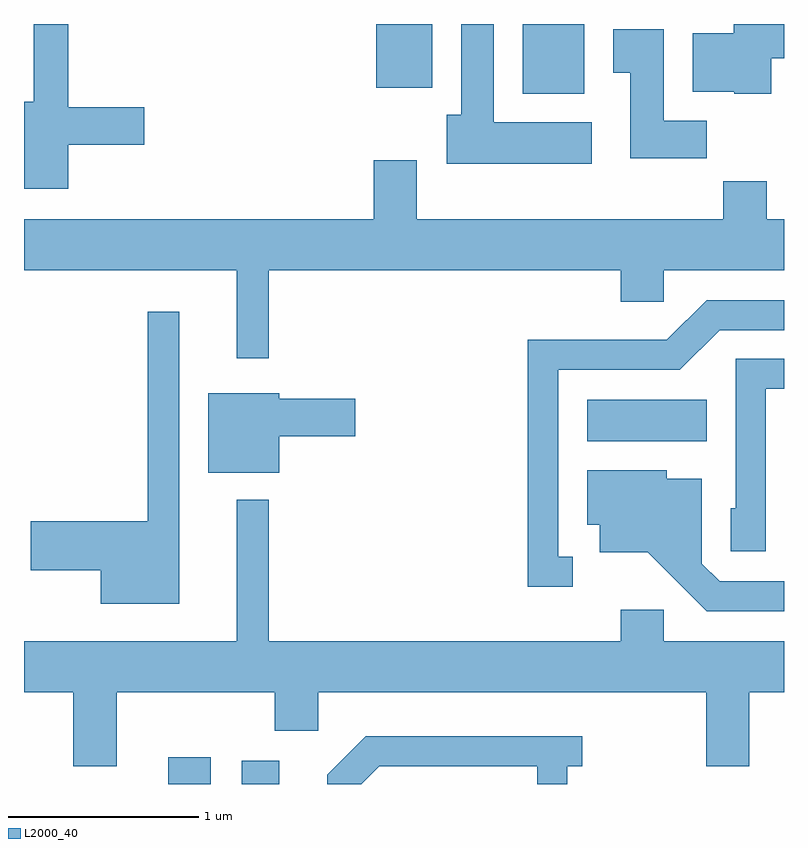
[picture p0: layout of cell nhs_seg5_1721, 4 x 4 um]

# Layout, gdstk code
import gdstk
lib = gdstk.Library(unit=1e-6, precision=1e-09)
def R(c, l, rs):  # rectangles x0, y0, x1, y1
    for r in rs: c.add(gdstk.rectangle(r[:2], r[2:], *l))
def P(c, l, *ps):  # polygons
    for p in ps: c.add(gdstk.Polygon(p, *l))
L2000_40 = (2000, 40)

nhs_seg5_1721 = lib.new_cell('nhs_seg5_1721')
R(nhs_seg5_1721, L2000_40, [(236.371,1474.072,236.594,1474.214), (236.756,1474.072,236.954,1474.194), (238.576,1475.876,239.204,1476.094), (238.236,1477.706,238.559,1478.072), (237.466,1477.736,237.759,1478.072)])
P(nhs_seg5_1721, L2000_40, [(239.544,1477.891),(239.611,1477.891),(239.611,1478.072),(239.346,1478.072),(239.346,1478.024),(239.131,1478.024),(239.131,1477.716),(239.35,1477.716),(239.35,1477.706),(239.544,1477.706)],
  [(238.599,1477.554),(238.084,1477.554),(238.084,1478.072),(237.911,1478.072),(237.911,1477.594),(237.836,1477.594),(237.836,1477.336),(238.599,1477.336)],
  [(235.844,1477.436),(236.244,1477.436),(236.244,1477.634),(235.844,1477.634),(235.844,1478.072),(235.661,1478.072),(235.661,1477.664),(235.611,1477.664),(235.611,1477.206),(235.844,1477.206)],
  [(239.204,1477.564),(238.979,1477.564),(238.979,1478.044),(238.711,1478.044),(238.711,1477.816),(238.801,1477.816),(238.801,1477.366),(239.204,1477.366)],
  [(236.899,1476.776),(238.751,1476.776),(238.751,1476.611),(238.979,1476.611),(238.979,1476.776),(239.611,1476.776),(239.611,1477.044),(239.519,1477.044),(239.519,1477.244),(239.291,1477.244),(239.291,1477.044),(237.679,1477.044),(237.679,1477.354),(237.451,1477.354),(237.451,1477.044),(235.611,1477.044),(235.611,1476.776),(236.731,1476.776),(236.731,1476.313),(236.899,1476.313)],
  [(238.498,1475.269),(238.424,1475.269),(238.424,1476.251),(239.062,1476.251),(239.272,1476.461),(239.611,1476.461),(239.611,1476.619),(239.204,1476.619),(238.994,1476.409),(238.261,1476.409),(238.261,1475.111),(238.498,1475.111)],
  [(236.429,1476.558),(236.261,1476.558),(236.261,1475.454),(235.646,1475.454),(235.646,1475.196),(236.016,1475.196),(236.016,1475.021),(236.429,1475.021)],
  [(239.514,1476.151),(239.611,1476.151),(239.611,1476.309),(239.356,1476.309),(239.356,1475.524),(239.331,1475.524),(239.331,1475.296),(239.514,1475.296)],
  [(236.954,1475.901),(237.354,1475.901),(237.354,1476.099),(236.954,1476.099),(236.954,1476.129),(236.581,1476.129),(236.581,1475.711),(236.954,1475.711)],
  [(239.611,1475.139),(239.272,1475.139),(239.179,1475.232),(239.179,1475.679),(238.994,1475.679),(238.994,1475.724),(238.576,1475.724),(238.576,1475.436),(238.641,1475.436),(238.641,1475.291),(238.894,1475.291),(239.204,1474.981),(239.611,1474.981)],
  [(236.099,1474.556),(236.931,1474.556),(236.931,1474.351),(237.159,1474.351),(237.159,1474.556),(239.201,1474.556),(239.201,1474.166),(239.429,1474.166),(239.429,1474.556),(239.611,1474.556),(239.611,1474.824),(238.979,1474.824),(238.979,1474.989),(238.751,1474.989),(238.751,1474.824),(236.899,1474.824),(236.899,1475.568),(236.731,1475.568),(236.731,1474.824),(235.611,1474.824),(235.611,1474.556),(235.871,1474.556),(235.871,1474.166),(236.099,1474.166)],
  [(237.482,1474.166),(238.311,1474.166),(238.311,1474.072),(238.469,1474.072),(238.469,1474.166),(238.548,1474.166),(238.548,1474.324),(237.409,1474.324),(237.206,1474.122),(237.206,1474.072),(237.387,1474.072)])

lib.write_gds('nhs_seg5_1721.gds')
